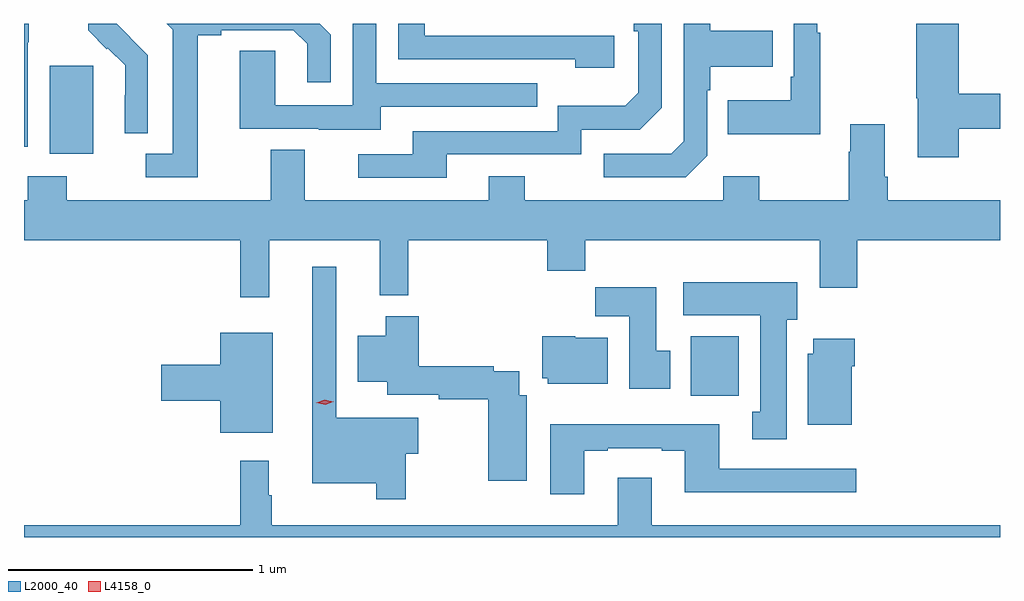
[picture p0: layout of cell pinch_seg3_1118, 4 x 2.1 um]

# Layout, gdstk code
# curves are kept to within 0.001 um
import gdstk
lib = gdstk.Library(unit=1e-6, precision=1e-09)
def R(c, l, rs):  # rectangles x0, y0, x1, y1
    for r in rs: c.add(gdstk.rectangle(r[:2], r[2:], *l))
def P(c, l, *ps):  # polygons
    for p in ps: c.add(gdstk.Polygon(p, *l))
L2000_40 = (2000, 40)
L4158_0 = (4158, 0)

pinch_seg3_1118 = lib.new_cell('pinch_seg3_1118')
R(pinch_seg3_1118, L2000_40, [(174.167,666.98,174.364,667.222), (171.539,667.97,171.718,668.331)])
P(pinch_seg3_1118, L2000_40, [(173.854,668.454),(173.077,668.454),(173.077,668.503),(172.968,668.503),(172.968,668.358),(173.693,668.358),(173.693,668.324),(173.854,668.324)],
  [(172.897,668.163),(173.537,668.163),(173.537,668.259),(172.878,668.259),(172.878,668.503),(172.782,668.503),(172.782,668.169),(172.464,668.169),(172.464,668.393),(172.319,668.393),(172.319,668.073),(172.643,668.073),(172.643,668.069),(172.897,668.069)],
  [(175.265,668.074),(175.434,668.074),(175.434,668.216),(175.265,668.216),(175.265,668.503),(175.09,668.503),(175.09,668.199),(175.097,668.199),(175.097,667.956),(175.265,667.956)],
  [(172.147,668.456),(172.243,668.456),(172.243,668.478),(172.538,668.478),(172.595,668.421),(172.595,668.265),(172.692,668.265),(172.692,668.458),(172.647,668.503),(172.019,668.503),(172.043,668.479),(172.043,667.971),(171.933,667.971),(171.933,667.875),(172.147,667.875)],
  [(174.697,668.467),(174.685,668.467),(174.685,668.503),(174.588,668.503),(174.588,668.287),(174.576,668.287),(174.576,668.191),(174.319,668.191),(174.319,668.051),(174.697,668.051)],
  [(174.234,667.962),(174.234,668.231),(174.247,668.231),(174.247,668.327),(174.503,668.327),(174.503,668.475),(174.247,668.475),(174.247,668.503),(174.138,668.503),(174.138,668.022),(174.087,667.971),(173.811,667.971),(173.811,667.875),(174.147,667.875)],
  [(173.167,667.968),(173.718,667.968),(173.718,668.07),(173.958,668.07),(174.048,668.16),(174.048,668.503),(173.932,668.503),(173.932,668.474),(173.952,668.474),(173.952,668.22),(173.899,668.167),(173.622,668.167),(173.622,668.064),(173.027,668.064),(173.027,667.968),(172.803,667.968),(172.803,667.872),(173.167,667.872)],
  [(171.45,668.428),(171.453,668.428),(171.453,668.503),(171.434,668.503),(171.434,667.999),(171.45,667.999)],
  [(171.942,668.374),(171.815,668.503),(171.697,668.503),(171.697,668.477),(171.774,668.4),(171.777,668.403),(171.848,668.333),(171.848,668.21),(171.846,668.21),(171.846,668.056),(171.942,668.056)],
  [(172.439,667.616),(172.892,667.616),(172.892,667.391),(173.009,667.391),(173.009,667.616),(173.579,667.616),(173.579,667.492),(173.735,667.492),(173.735,667.616),(174.695,667.616),(174.695,667.422),(174.848,667.422),(174.848,667.616),(175.434,667.616),(175.434,667.78),(174.974,667.78),(174.974,667.876),(174.961,667.876),(174.961,668.092),(174.821,668.092),(174.821,667.979),(174.814,667.979),(174.814,667.78),(174.447,667.78),(174.447,667.879),(174.3,667.879),(174.3,667.78),(173.487,667.78),(173.487,667.879),(173.339,667.879),(173.339,667.78),(172.585,667.78),(172.585,667.988),(172.445,667.988),(172.445,667.78),(171.609,667.78),(171.609,667.879),(171.449,667.879),(171.449,667.78),(171.434,667.78),(171.434,667.616),(172.321,667.616),(172.321,667.383),(172.439,667.383)],
  [(172.999,666.742),(173.05,666.742),(173.05,666.889),(172.713,666.889),(172.713,667.507),(172.616,667.507),(172.616,666.62),(172.878,666.62),(172.878,666.555),(172.999,666.555)],
  [(174.559,667.29),(174.604,667.29),(174.604,667.444),(174.135,667.444),(174.135,667.31),(174.452,667.31),(174.452,666.914),(174.419,666.914),(174.419,666.801),(174.559,666.801)],
  [(174.082,667.164),(174.025,667.164),(174.025,667.423),(173.776,667.423),(173.776,667.304),(173.915,667.304),(173.915,667.008),(174.082,667.008)],
  [(173.494,666.982),(173.464,666.982),(173.464,667.08),(173.36,667.08),(173.36,667.1),(173.051,667.1),(173.051,667.306),(172.916,667.306),(172.916,667.225),(172.802,667.225),(172.802,667.037),(172.922,667.037),(172.922,666.984),(173.134,666.984),(173.134,666.964),(173.336,666.964),(173.336,666.63),(173.494,666.63)],
  [(172.453,667.237),(172.238,667.237),(172.238,667.106),(171.996,667.106),(171.996,666.959),(172.238,666.959),(172.238,666.827),(172.453,666.827)],
  [(173.827,667.216),(173.694,667.216),(173.694,667.222),(173.558,667.222),(173.558,667.05),(173.58,667.05),(173.58,667.028),(173.827,667.028)],
  [(174.826,667.1),(174.839,667.1),(174.839,667.213),(174.668,667.213),(174.668,667.152),(174.647,667.152),(174.647,666.86),(174.826,666.86)],
  [(173.731,666.753),(173.827,666.753),(173.827,666.765),(174.047,666.765),(174.047,666.753),(174.143,666.753),(174.143,666.584),(174.844,666.584),(174.844,666.681),(174.283,666.681),(174.283,666.862),(173.591,666.862),(173.591,666.576),(173.731,666.576)],
  [(175.434,666.448),(174.007,666.448),(174.007,666.643),(173.867,666.643),(173.867,666.448),(172.45,666.448),(172.45,666.572),(172.438,666.572),(172.438,666.712),(172.321,666.712),(172.321,666.448),(171.434,666.448),(171.434,666.4),(175.434,666.4)])
P(pinch_seg3_1118, L4158_0, [(172.668,666.942),(172.632,666.95),(172.632,666.95),(172.632,666.95),(172.666,666.962),(172.702,666.954),(172.703,666.954),(172.702,666.954)])

lib.write_gds('pinch_seg3_1118.gds')
